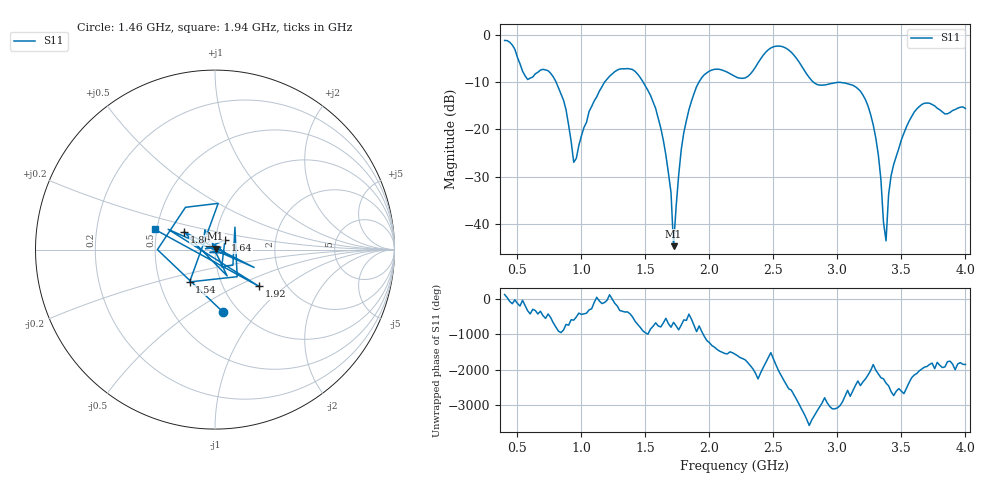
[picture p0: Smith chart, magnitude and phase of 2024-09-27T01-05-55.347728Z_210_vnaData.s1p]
!Created with skrf (http://scikit-rf.org).
# Hz S RI R 50.0
!freq ReS11 ImS11
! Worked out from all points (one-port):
!   181 points, 400 MHz to 4 GHz, reference 50 ohm
!   lowest |S11| = -44.7 dB at 1.72 GHz (marker M1), VSWR 1.01, Z = 50.3 + j0.512 ohm
!   |S11| at or under -10 dB: 802.7 MHz to 1.18 GHz (377.3 MHz wide, 38.1 % of centre); 1.483 GHz to 1.918 GHz (435.4 MHz wide, 25.6 % of centre); 2.814 GHz to end of sweep
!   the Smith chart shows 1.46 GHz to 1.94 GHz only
!   S11 on the Smith chart (normalised r, x): 1.46 GHz: 0.85, -0.68; 1.54 GHz: 0.71, -0.27; 1.64 GHz: 1.11, +0.12; 1.86 GHz: 0.69, +0.14; 1.92 GHz: 1.47, -0.67; 1.94 GHz: 0.49, +0.12
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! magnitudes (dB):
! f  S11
! 400 MHz  -1.2
! 580 MHz  -9.4
! 740 MHz  -7.6
! 860 MHz  -13.8
! 940 MHz  -26.9
! 1.1 GHz  -14.0
! 1.3 GHz  -7.2
! 1.46 GHz  -9.0
! 1.54 GHz  -12.8
! 1.64 GHz  -22.3
! 1.7 GHz  -33.3
! 1.72 GHz  -44.7
! 1.76 GHz  -29.7
! 1.86 GHz  -14.0
! 1.92 GHz  -9.9
! 1.94 GHz  -9.0
! 2.2 GHz  -8.8
! 2.5 GHz  -2.5
! 2.66 GHz  -4.3
! 2.84 GHz  -10.5
! 3.1 GHz  -10.5
! 3.28 GHz  -19.0
! 3.32 GHz  -25.4
! 3.38 GHz  -43.6
! 3.42 GHz  -29.7
! 3.56 GHz  -18.2
! 3.68 GHz  -14.5
! 4 GHz  -15.6
